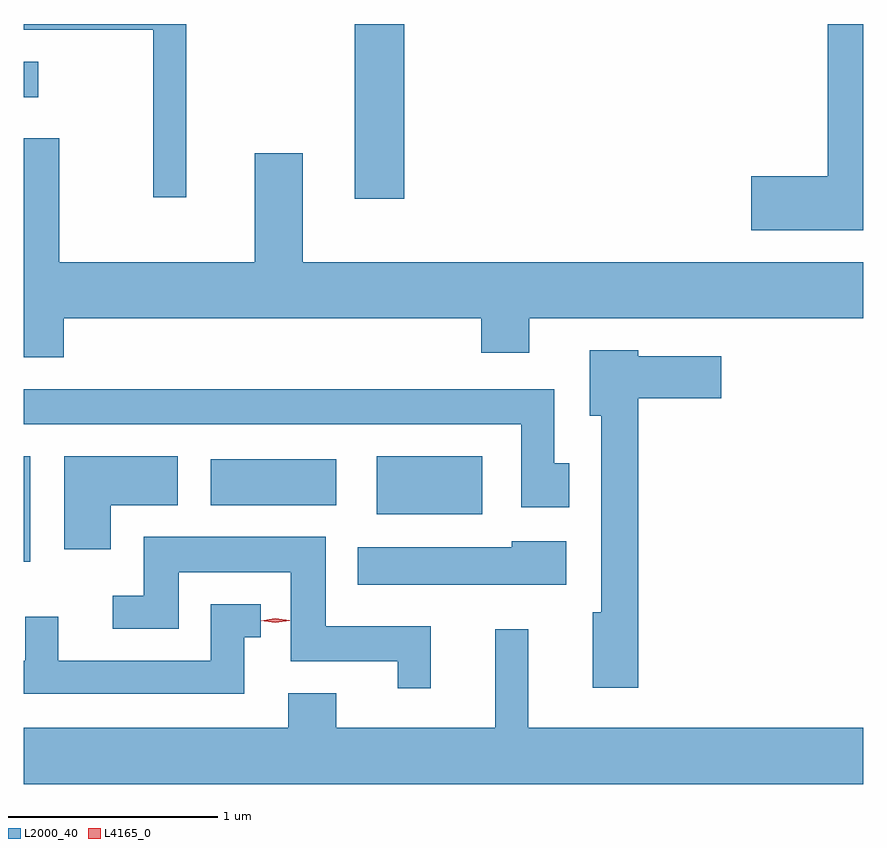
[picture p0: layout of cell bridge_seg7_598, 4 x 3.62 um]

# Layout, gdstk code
import gdstk
lib = gdstk.Library(unit=1e-6, precision=1e-09)
def R(c, l, rs):  # rectangles x0, y0, x1, y1
    for r in rs: c.add(gdstk.rectangle(r[:2], r[2:], *l))
def P(c, l, *ps):  # polygons
    for p in ps: c.add(gdstk.Polygon(p, *l))
L2000_40 = (2000, 40)
L4165_0 = (4165, 0)

bridge_seg7_598 = lib.new_cell('bridge_seg7_598')
R(bridge_seg7_598, L2000_40, [(824.18,1719.816,824.209,1720.319), (825.861,1720.041,826.364,1720.319), (825.071,1720.086,825.669,1720.304), (825.756,1721.546,825.994,1722.379), (824.18,1722.031,824.248,1722.199)])
P(bridge_seg7_598, L2000_40, [(828.18,1722.379),(828.011,1722.379),(828.011,1721.654),(827.646,1721.654),(827.646,1721.396),(828.18,1721.396)],
  [(824.954,1722.379),(824.18,1722.379),(824.18,1722.351),(824.796,1722.351),(824.796,1721.553),(824.954,1721.553)],
  [(825.509,1721.764),(825.281,1721.764),(825.281,1721.244),(824.349,1721.244),(824.349,1721.834),(824.18,1721.834),(824.18,1720.791),(824.369,1720.791),(824.369,1720.976),(826.361,1720.976),(826.361,1720.811),(826.589,1720.811),(826.589,1720.976),(828.18,1720.976),(828.18,1721.244),(825.509,1721.244)],
  [(827.109,1720.596),(827.504,1720.596),(827.504,1720.794),(827.109,1720.794),(827.109,1720.824),(826.876,1720.824),(826.876,1720.511),(826.931,1720.511),(826.931,1719.574),(826.891,1719.574),(826.891,1719.216),(827.109,1719.216)],
  [(826.779,1720.284),(826.709,1720.284),(826.709,1720.639),(824.18,1720.639),(824.18,1720.471),(826.551,1720.471),(826.551,1720.076),(826.779,1720.076)],
  [(824.594,1720.086),(824.914,1720.086),(824.914,1720.319),(824.371,1720.319),(824.371,1719.876),(824.594,1719.876)],
  [(826.119,1719.509),(825.619,1719.509),(825.619,1719.934),(824.751,1719.934),(824.751,1719.654),(824.603,1719.654),(824.603,1719.496),(824.919,1719.496),(824.919,1719.766),(825.451,1719.766),(825.451,1719.341),(825.961,1719.341),(825.961,1719.213),(826.119,1719.213)],
  [(826.764,1719.914),(826.506,1719.914),(826.506,1719.884),(825.771,1719.884),(825.771,1719.706),(826.764,1719.706)],
  [(825.229,1719.456),(825.308,1719.456),(825.308,1719.614),(825.071,1719.614),(825.071,1719.344),(824.344,1719.344),(824.344,1719.553),(824.186,1719.553),(824.186,1719.344),(824.18,1719.344),(824.18,1719.186),(825.229,1719.186)],
  [(828.18,1719.024),(826.584,1719.024),(826.584,1719.493),(826.426,1719.493),(826.426,1719.024),(825.669,1719.024),(825.669,1719.189),(825.441,1719.189),(825.441,1719.024),(824.18,1719.024),(824.18,1718.756),(828.18,1718.756)])
P(bridge_seg7_598, L4165_0, [(825.378,1719.525),(825.309,1719.534),(825.309,1719.535),(825.309,1719.535),(825.378,1719.545),(825.448,1719.536),(825.448,1719.536),(825.448,1719.535)])

lib.write_gds('bridge_seg7_598.gds')
